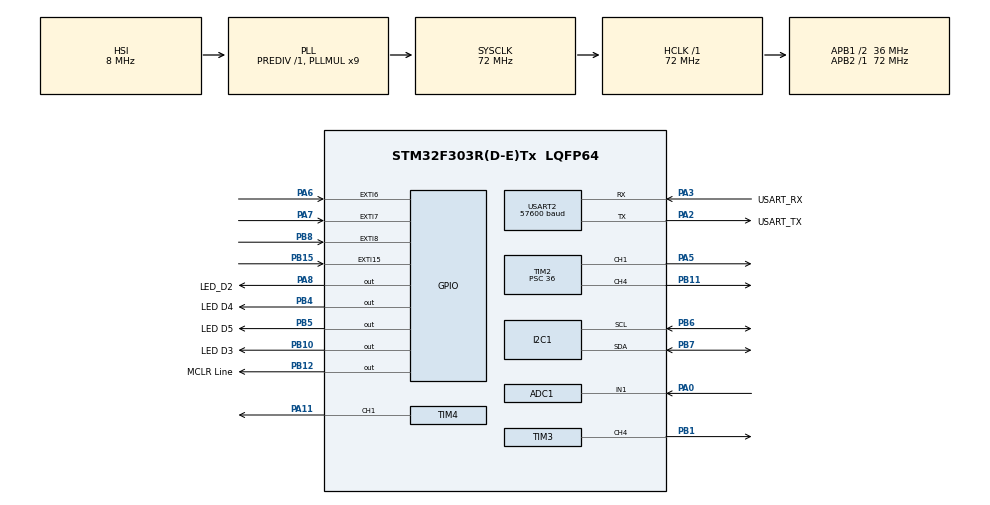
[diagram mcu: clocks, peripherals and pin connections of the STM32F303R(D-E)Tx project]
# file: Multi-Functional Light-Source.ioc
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ADC1.Channel-1\#ChannelRegularConversion=ADC_CHANNEL_1
ADC1.ContinuousConvMode=ENABLE
ADC1.DMAContinuousRequests=ENABLE
ADC1.NbrOfConversionFlag=1
ADC1.Offset-1\#ChannelRegularConversion=0
ADC1.OffsetNumber-1\#ChannelRegularConversion=ADC_OFFSET_NONE
ADC1.Rank-1\#ChannelRegularConversion=1
ADC1.SamplingTime-1\#ChannelRegularConversion=ADC_SAMPLETIME_1CYCLE_5
ADC1.master=1
Dma.ADC1.0.Direction=DMA_PERIPH_TO_MEMORY
Dma.ADC1.0.Instance=DMA1_Channel1
Dma.ADC1.0.MemDataAlignment=DMA_MDATAALIGN_HALFWORD
Dma.ADC1.0.MemInc=DMA_MINC_ENABLE
Dma.ADC1.0.Mode=DMA_CIRCULAR
Dma.ADC1.0.PeriphDataAlignment=DMA_PDATAALIGN_HALFWORD
Dma.ADC1.0.PeriphInc=DMA_PINC_DISABLE
Dma.ADC1.0.Priority=DMA_PRIORITY_LOW
Dma.Request0=ADC1
Mcu.Family=STM32F3
Mcu.Name=STM32F303R(D-E)Tx
Mcu.Package=LQFP64
NVIC.DMA1_Channel1_IRQn=true\:0\:0\:false\:false\:true\:false\:true\:true
NVIC.EXTI15_10_IRQn=true\:0\:0\:false\:false\:true\:true\:true\:true
NVIC.EXTI9_5_IRQn=true\:0\:0\:false\:false\:true\:true\:true\:true
NVIC.PriorityGroup=NVIC_PRIORITYGROUP_0
NVIC.USART2_IRQn=true\:0\:0\:false\:false\:true\:true\:true\:true
PA0.Mode=IN1-Single-Ended
PA0.Signal=ADC1_IN1
PA11.Signal=S_TIM4_CH1
PA13.GPIO_Label=TMS
PA13.Mode=Serial_Wire
PA13.Signal=SYS_JTMS-SWDIO
PA14.GPIO_Label=TCK
PA14.Mode=Serial_Wire
PA14.Signal=SYS_JTCK-SWCLK
PA2.GPIO_Label=USART_TX
PA2.GPIO_Mode=GPIO_MODE_AF_PP
PA2.GPIO_PuPd=GPIO_NOPULL
PA2.GPIO_Speed=GPIO_SPEED_FREQ_LOW
PA2.Mode=Asynchronous
PA2.Signal=USART2_TX
PA3.GPIO_Label=USART_RX
PA3.GPIO_Mode=GPIO_MODE_AF_PP
PA3.GPIO_PuPd=GPIO_NOPULL
PA3.GPIO_Speed=GPIO_SPEED_FREQ_LOW
PA3.Mode=Asynchronous
PA3.Signal=USART2_RX
PA5.Signal=S_TIM2_CH1_ETR
PA6.GPIO_ModeDefaultEXTI=GPIO_MODE_IT_RISING_FALLING
PA6.GPIO_PuPd=GPIO_PULLUP
PA6.Signal=GPXTI6
PA7.GPIO_ModeDefaultEXTI=GPIO_MODE_IT_RISING_FALLING
PA7.GPIO_PuPd=GPIO_PULLUP
PA7.Signal=GPXTI7
PA8.GPIO_Label=LED_D2
PA8.Signal=GPIO_Output
PB1.Signal=S_TIM3_CH4
PB10.GPIO_Label=LED D3
PB10.Signal=GPIO_Output
PB11.Signal=S_TIM2_CH4
PB12.GPIO_Label=MCLR Line
PB12.Signal=GPIO_Output
PB15.Signal=GPXTI15
PB3.GPIO_Label=SWO
PB3.Signal=SYS_JTDO-TRACESWO
PB4.GPIO_Label=LED D4
PB4.Signal=GPIO_Output
PB5.GPIO_Label=LED D5
PB5.Signal=GPIO_Output
PB6.Mode=I2C
PB6.Signal=I2C1_SCL
PB7.Mode=I2C
PB7.Signal=I2C1_SDA
PB8.GPIO_ModeDefaultEXTI=GPIO_MODE_IT_RISING_FALLING
PB8.GPIO_PuPd=GPIO_PULLUP
PB8.Signal=GPXTI8
PC14-OSC32_IN.Mode=LSE-External-Oscillator
PC14-OSC32_IN.Signal=RCC_OSC32_IN
PC15-OSC32_OUT.Mode=LSE-External-Oscillator
PC15-OSC32_OUT.Signal=RCC_OSC32_OUT
PF0-OSC_IN.Mode=HSE-External-Clock-Source
PF0-OSC_IN.Signal=RCC_OSC_IN
PF1-OSC_OUT.Signal=RCC_OSC_OUT
ProjectManager.HeapSize=0x200
ProjectManager.StackSize=0x400
ProjectManager.TargetToolchain=STM32CubeIDE
RCC.AHBFreq_Value=72000000
RCC.APB1CLKDivider=RCC_HCLK_DIV2
RCC.APB1Freq_Value=36000000
RCC.APB1TimFreq_Value=72000000
RCC.APB2Freq_Value=72000000
RCC.APB2TimFreq_Value=72000000
RCC.CortexFreq_Value=72000000
RCC.HCLKFreq_Value=72000000
RCC.HSE_VALUE=8000000
RCC.HSI_VALUE=8000000
RCC.PLLM=8
RCC.PLLMUL=RCC_PLL_MUL9
RCC.PLLN=336
RCC.PLLP=RCC_PLLP_DIV4
RCC.PLLQ=7
RCC.RCC_PLLsource_Clock_Source_FROM_HSE=RCC_HSE_PREDIV_DIV2
RCC.SYSCLKFreq_VALUE=72000000
RCC.SYSCLKSourceVirtual=RCC_SYSCLKSOURCE_PLLCLK
RCC.USBFreq_Value=72000000
SH.S_TIM2_CH1_ETR.0=TIM2_CH1,PWM Generation1 CH1
SH.S_TIM2_CH4.0=TIM2_CH4,PWM Generation4 CH4
SH.S_TIM3_CH4.0=TIM3_CH4,PWM Generation4 CH4
SH.S_TIM4_CH1.0=TIM4_CH1,PWM Generation1 CH1
TIM2.Channel-PWM\ Generation1\ CH1=TIM_CHANNEL_1
TIM2.Channel-PWM\ Generation4\ CH4=TIM_CHANNEL_4
TIM2.Period=512
TIM2.Prescaler=36
TIM3.Channel-PWM\ Generation4\ CH4=TIM_CHANNEL_4
TIM3.Period=512
TIM3.Prescaler=36
TIM4.Channel-PWM\ Generation1\ CH1=TIM_CHANNEL_1
TIM4.Prescaler=36
USART2.BaudRate=57600
USART2.Parity=PARITY_EVEN
USART2.StopBits=STOPBITS_2
USART2.VirtualMode-Asynchronous=VM_ASYNC
USART2.WordLength=WORDLENGTH_9B
VP_TIM2_VS_ClockSourceINT.Mode=Internal
VP_TIM3_VS_ClockSourceINT.Mode=Internal
VP_TIM4_VS_ClockSourceINT.Mode=Internal
board=NUCLEO-F303RE

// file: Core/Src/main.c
/* USER CODE BEGIN Header */
/**
  ******************************************************************************
  * @file           : main.c
  * @brief          : Main program body
  ******************************************************************************
  * @attention
  *
  * Copyright (c) 2024 STMicroelectronics.
  * All rights reserved.
  *
  * This software is licensed under terms that can be found in the LICENSE file
  * in the root directory of this software component.
  * If no LICENSE file comes with this software, it is provided AS-IS.
  *
  ******************************************************************************
  */
/* USER CODE END Header */
#include "main.h"

/* USER CODE BEGIN Includes */
#include "stdio.h"
#include "stdlib.h"
#include "string.h"
#include "ctype.h"

/* USER CODE END Includes */

/* USER CODE BEGIN PD */
#define adc_buf_len 4096
/* USER CODE END PD */

ADC_HandleTypeDef hadc1;
DMA_HandleTypeDef hdma_adc1;

I2C_HandleTypeDef hi2c1;

TIM_HandleTypeDef htim2;
TIM_HandleTypeDef htim3;
TIM_HandleTypeDef htim4;

UART_HandleTypeDef huart2;

/* USER CODE BEGIN PV */
extern uint8_t middle_button_pressed ;
extern  uint8_t right_button_pressed ;
extern uint8_t left_button_pressed ;
int button_count= 0 ;

uint8_t start_up = 1 ;
uint8_t em_count = 0 ;
uint8_t em_default = 1 ;

uint16_t adc_buf[adc_buf_len] ;  // stores adc values
uint16_t raw_adc_dma_val = 0 ;   // unscaled adc value
char adc_val[10] ;               // buffer to store val
int sum  = 0 ;
uint8_t adc_val_capture = 1 ;    // we capture adc current value if set
uint16_t adc_val_snapshot ;      // previous snapshot of adc value
uint8_t adc_conv_complete = 0 ;  // when buffer filled DMA interrrupt triggered and buffer ready for processin
double adc_scale_up =1.0314861460957178841309823677582 ;
uint16_t scaled_adc_val ;
uint8_t update_led_via_ADC = 0 ;  // WHITE led to be updated via ADC

uint8_t LED_ON = 0 ;   // white LED set on of off
uint16_t LED_intensity = 1 ;

/**Emergency mode*/
// STROBE
uint16_t strobe_delay =  512 ; // UNIT = ms f = 0.9765HZ (default on time)
uint32_t strobe_ticks = 0 ; // strobe delay count
uint8_t led_strobe_on = 0 ; // flag to alternate between on/off in strobe
uint32_t timePassed = 0 ;
uint16_t strobe_led_Intensity = 256 ;
//SOS morse

uint16_t time_unit = 512 ; //ms
uint32_t morse_current_time = 0 ;
uint32_t space_between_letter_time = 0 ;

uint8_t space_in_letter= 0;
uint8_t space_between_letters = 0 ;
uint8_t space_between_words = 0 ;
uint8_t DOT = 0 ;
uint8_t DASH = 0 ;
uint8_t next_char_check = 0 ; //  check if the next character is a dot or dash
uint8_t next_char_checked = 0 ;
uint8_t morse_dot_on = 0;
uint8_t morse_dash_on = 0 ;
uint8_t DOT_or_DASH = 0 ;
char MorseOut[20]  = {0} ;
//char *MorseOut ;
char character = '\0' ;

// Mood mode
uint8_t MM_mode_default = 1;
uint16_t R_channel_Intensity= 128;
uint16_t G_channel_Intensity = 128;
uint16_t B_channel_Intensity = 128 ;

uint8_t studentNum[13]="#:23765518:$\n" ;
char recvd_char[1];

char set_or_ret_sys_state[19] = {' '} ;
uint8_t num_characters = 0 ;
uint8_t UART_set_syst_state = 0;  // FLAG - to update system state
uint8_t UART_ret_sys_state = 0;   // FLAG - to requets/return current system state
uint8_t UART_state_update = 0;
uint8_t custom_morse_msg_rcvd = 0 ;  // Indicates whether a custom morse msg been received
uint16_t state  = 0 ;
uint16_t param1 = 0 ;
uint16_t param2 = 0 ;
uint8_t READ_SYS = 0;
char STATE[3] = {' '} ;
char PARAM1[3] = {' '} ;
char PARAM2[3] ={' '};
char Custom_Morse_Msg[3] = {' '};

// Variables to remember previous state of system
// Flashlight mode state values
uint16_t MF_state = 0 ;
uint16_t MF_param1 = 0;
char MF_param2[3] = {' '} ;
// Emergency mode state values
uint16_t ME_state = 0 ;
uint16_t ME_param1 = 0 ;
char ME_param2[3] = "000" ;
// Mood mode state values
uint16_t MM_state = 0;
uint16_t MM_param1 = 0 ;
uint16_t MM_param2 = 0 ;

// return system state
char ret_state[3] = {' '} ;
char ret_param1[3] = {' ' };
char ret_param2[3] = {' '} ;

char value[19] ;  // stores system requested system state

/* USER CODE END PV */

void SystemClock_Config(void);
static void MX_GPIO_Init(void);
static void MX_DMA_Init(void);
static void MX_USART2_UART_Init(void);
static void MX_ADC1_Init(void);
static void MX_TIM2_Init(void);
static void MX_TIM3_Init(void);
static void MX_TIM4_Init(void);
static void MX_I2C1_Init(void);
/* USER CODE BEGIN PFP */
void MF_mode_LED() ;
void ME_mode_LED();
void MM_mode_LED();

void adc_dma_val_processing() ;
void system_state_update() ;
void right_button_state_update() ;
void TURN_LED_ON_OFF() ;
void EM_mode_Strobe(uint16_t strobe_delay) ;
void Emergency_Mode_State_Update();
void convert_UART_state_params_to_Int();
void Mood_Mode_State_Update() ;
void Request_return_system_state() ;
void ascii_to_morse(char *str) ;
void M_DOT() ;
void M_DASH() ;
void M_Space_In_Letter() ;
void M_Space_between_Letter() ;
void M_Space_Between_Words() ;

/* USER CODE END PFP */

/* USER CODE BEGIN 0 */

void HAL_UART_RxCpltCallback(UART_HandleTypeDef *huart){

	// store recieved characters one at at time
	set_or_ret_sys_state[num_characters] = recvd_char[0] ;

	num_characters++ ;

	if(recvd_char[0] == '\n'){
		if(num_characters == 19){
			UART_set_syst_state = 1 ;

		}else if( num_characters == 7){
			UART_ret_sys_state = 1 ;

		}else{
			HAL_UART_Transmit_IT(&huart2, (uint8_t*)"Incorrect status request size\n", 30) ;
		}

		num_characters =  0;

	}
	// recieve character - re-prime receiver to receive single characters at a time
	HAL_UART_Receive_IT(&huart2, (uint8_t*)recvd_char, 1);
}

/**
 * scale up transmit ADC values
 */

void adc_dma_val_processing(){

	if(adc_conv_complete == 1){

		adc_conv_complete =0  ;
		sum = 0 ;
		for(int i = 0 ; i < adc_buf_len ; i++){
			sum += adc_buf[i] ;
		}
		raw_adc_dma_val =(uint16_t)(sum/adc_buf_len) ;

		scaled_adc_val = (uint16_t)raw_adc_dma_val*adc_scale_up ; //adc scaled to max =4095

		//capture previous adc cal
		if(adc_val_capture == 1){
			adc_val_snapshot = scaled_adc_val ;
			adc_val_capture = 0 ;
		}
	}

	// if ADC movement significant update LED intensity
	if(abs(scaled_adc_val - adc_val_snapshot) >15){
	  update_led_via_ADC = 1 ;
	}

//	 WHITE LED intensity
	LED_intensity =(float)(scaled_adc_val)*(512.0/4095.0)  ;
}

/**
 * Depending on input recvd system changes to specified state
 */
void system_state_update(){
	// button system state update
	 if(left_button_pressed ==1 && UART_set_syst_state == 0 && UART_ret_sys_state == 0 ){

		 button_count++ ;
		 if(button_count > 2){
			 button_count = 0 ;
		 }
		 update_led_via_ADC =  0 ; // don't read ADC by default in next state
		 // snapshot of ADC taken in next state
		 if(adc_conv_complete == 1){
			 adc_val_capture =1  ; // capture ADC value
		 }

		 // Emergency MODE DEFAULT
		 if(button_count != 1){
			 strobe_led_Intensity = 256 ;
			 strobe_delay = 512;
		 }

		 LED_ON = 0 ;  // at eahc new state led set off
		 left_button_pressed = 0 ;

	 }
	 // UART system state update
	 else if( left_button_pressed ==0 && UART_set_syst_state == 1 && UART_ret_sys_state == 0){ // System state update to come from only one source
		 UART_set_syst_state = 0;
		// stop reading ADC when UART set command  received
		if(adc_conv_complete == 1){
			adc_val_capture = 1 ; // capture slider value
			update_led_via_ADC = 0 ; // dont read until slider moved
		}

		 UART_state_update =1;

		 if(set_or_ret_sys_state[3] == 'F'){
			 button_count =0 ;
		 }
		 else if(set_or_ret_sys_state[3] =='E'){
			 button_count =1;

		 }else{
			 if(set_or_ret_sys_state[3] == 'M'){
				 button_count =2 ;

			 }
		 }
	 }
	 // read system state
	 else{ //dont update the system in any way - read current and previous states
		 if( left_button_pressed ==0 && UART_set_syst_state == 0 && UART_ret_sys_state == 1){

			 // stop reading adc
			if(adc_conv_complete == 1){
				adc_val_capture = 1 ; // capture slider value
				update_led_via_ADC = 0 ; // dont read until slider moved
			}

			 UART_ret_sys_state = 0;
			 READ_SYS =1;

		 }
	 }
}

/**
 * Updates system state after right button pressed in emergency mode
 */
void right_button_state_update(){

	if(right_button_pressed){
		right_button_pressed = 0 ;

		update_led_via_ADC = 0 ; // dont read adc by default in next state

		 em_count++ ;

		 if(em_count>2){
			 em_count = 0;
		 }
	}
}

/**
 * Middle button press turns LED ON/OFF
 */
void TURN_LED_ON_OFF(){
	if(middle_button_pressed == 1 && UART_set_syst_state == 0){
		 LED_ON = !LED_ON ;  // turns the LED on OR off

		 // Middle button press -> LED ON / OFF
		 if(LED_ON == 1){
			 htim2.Instance->CCR1 = 1 ; // LED ON
		 }else if(LED_ON ==0){
			 htim2.Instance->CCR1 = 0 ; //LED OFFS
		 }

		 middle_button_pressed = 0 ;
	 }
	else if(middle_button_pressed == 0 && UART_state_update == 1  ){
		if( state>0){
			LED_ON  = 1 ;
		}else{
			LED_ON = 0 ;
		}
	}
}

/**
 * LED strobed with provided number of ms
 */
void EM_mode_Strobe(uint16_t strobe_delay){

	 // default delay 512ms
	 timePassed =HAL_GetTick() - strobe_ticks ;
	 // time passed >512
	 if( timePassed >= strobe_delay && led_strobe_on == 0){
		 led_strobe_on =1 ;
		 htim2.Instance->CCR1 = 0 ;
	 }
	 // time Passed > 1024
	 if(timePassed >= 1024 && led_strobe_on == 1){
		 strobe_ticks =  HAL_GetTick() ; // update current time
		 led_strobe_on = 0 ;

		 if(update_led_via_ADC ==1){ // update LED intensity if the slider moved
			 htim2.Instance->CCR1 = LED_intensity ;
		 }else{ // if no slider movement strobe with default intensity
			 htim2.Instance->CCR1 = strobe_led_Intensity;
		 }
	 }

}
void convert_UART_state_params_to_Int(){
	if(UART_set_syst_state) {
		for(int i = 0; i < 19 ; i++){
			switch(i){
			case 5:
				STATE[0]= set_or_ret_sys_state[i] ;
				break;
			case 6:
				STATE[1]= set_or_ret_sys_state[i] ;
				break;
			case 7:
				STATE[2] = set_or_ret_sys_state[i] ;
				break;

			case 9:
				PARAM1[0] = set_or_ret_sys_state[i];
				break;
			case 10:
				PARAM1[1] = set_or_ret_sys_state[i] ;
				break;
			case 11:
				PARAM1[2] = set_or_ret_sys_state[i] ;
				break ;
			case 13:
				PARAM2[0] = set_or_ret_sys_state[i] ;
				break;
			case 14:
				PARAM2[1] = set_or_ret_sys_state[i] ;
				break;
			case 15:
				PARAM2[2] = set_or_ret_sys_state[i ];
				break;

			default:
				break ;
			}

		}

		state = atoi(STATE) ;
		param1 = atoi(PARAM1);
		// problem - perform check for if non integer characters are passed!
		if(strcmp(PARAM2, "000") == 0 ){

			param2 = atoi(PARAM2) ;  // SOS MORSE OUTPUT

			ME_param2[0] = param2/100 + 48;
			ME_param2[1] = (param2  -(param2/100)*100)/10 +48 ;
			ME_param2[2] = (param2 - (param2/10)*10) + 48 ;
		}
		else if( strcmp(PARAM2, "000") != 0 ){

			Custom_Morse_Msg[0] = PARAM2[0] ; // CUSTOM MORSE output - declare variable to store the output
			Custom_Morse_Msg[1] = PARAM2[1] ;
			Custom_Morse_Msg[2] = PARAM2[2] ;

			ME_param2[0] = Custom_Morse_Msg[0];
			ME_param2[1] = Custom_Morse_Msg[1] ;
			ME_param2[2] = Custom_Morse_Msg[2] ;

			custom_morse_msg_rcvd = 1;
		}
	}
}

/**
 * Function updates the necessary states/ values when UART command reached to
 * update the system state
 */
void Emergency_Mode_State_Update(){

	if(UART_state_update == 1 && state > 0 && set_or_ret_sys_state[3] =='E'){
		// Dont read ADC
		if(adc_conv_complete == 1){
			adc_val_capture = 1 ; // capture slider value
			update_led_via_ADC = 0 ; // dont read until slider moved
		}

		//update LED intensity
		strobe_led_Intensity = state;

		// strobe
		if(param1 > 0 ){
			em_count = 0 ;
			strobe_delay = param1 ;  // update the ON/off time of strobe

		}
		// SOS output
		else if(param1 == 0 && param2 == 0 && custom_morse_msg_rcvd == 0 ){
			HAL_UART_Transmit_IT(&huart2, (uint8_t*)"SOS MORSE\n", 10) ;
			em_count =1 ; // SOS mode
		}
		// CUSTOM morse msg received
		else{
			if(param1 == 0 && custom_morse_msg_rcvd ==1 ){
				custom_morse_msg_rcvd = 0;
				HAL_UART_Transmit_IT(&huart2, (uint8_t*)"CUSTOM MORSE\n", 13) ;
				em_count = 2 ; // CUSTOM MORSE

			}
		}

		UART_state_update = 0;
	}
	 // copy previous states information
		 ME_state = strobe_led_Intensity ;
		 ME_param1 =  strobe_delay;

}

void Mood_Mode_State_Update(){
	if(UART_state_update ==1  && set_or_ret_sys_state[3] == 'M'){

		R_channel_Intensity = state ;
		G_channel_Intensity = param1 ;
		B_channel_Intensity = param2 ;

		UART_state_update = 0;
	}
}

void Request_return_system_state(){
	if(READ_SYS ==1 ){
		// flash light mode
		if(set_or_ret_sys_state[3] == 'F'){

			ret_state[0] = MF_state/100 + 48 ; // hundred
			ret_state[1] = (MF_state -(MF_state/100)*100)/10 + 48 ; //tens
			ret_state[2] = (MF_state - (MF_state/10)*10) + 48 ;  //units

			ret_param1[0] = MF_param1/100 + 48 ; // hundred
			ret_param1[1] = (MF_param1 -(MF_param1/100)*100)/10 + 48 ; //tens
			ret_param1[2] = (MF_param1 - (MF_param1/10)*10) + 48 ;  //units

			if(custom_morse_msg_rcvd == 1){
				ret_param2[0] = MF_param2[0]; // hundred
				ret_param2[1] = MF_param2[1] ; //tens
				ret_param2[2] = MF_param2[2] ; //units
			}else{
				ret_param2[0] = param2/100 + 48;  // hundred
				ret_param2[1] =	(param2 -(param2/100)*100)/10 + 48 ; //tens
				ret_param2[2] = (param2 - (param2/10)*10) + 48 ; //units
			}

		}
		// emergency mode
		else if(set_or_ret_sys_state[3] == 'E'){

			ret_state[0] = ME_state/100 + 48 ; // hundred
			ret_state[1] = (ME_state -(ME_state/100)*100)/10 + 48 ; //tens
			ret_state[2] = (ME_state - (ME_state/10)*10) + 48 ;  //units

			ret_param1[0] = ME_param1/100 + 48 ; // hundred
			ret_param1[1] = (ME_param1 -(ME_param1/100)*100)/10 + 48 ; //tens
			ret_param1[2] = (ME_param1 - (ME_param1/10)*10) + 48 ;  //units

			// check whether param2 was 0 OR CUSTOM morse message recvd
			if(strcmp(ME_param2, "000") == 0){

				ret_param2[0] = ME_param2[0];
				ret_param2[1] = ME_param2[1] ;
				ret_param2[2] = ME_param2[2] ;

			}else{
				ret_param2[0] = Custom_Morse_Msg[0];
				ret_param2[1] = Custom_Morse_Msg[1] ;
				ret_param2[2] = Custom_Morse_Msg[2] ;

			}

		}
		// mood mode
		else{
			if(set_or_ret_sys_state[3] == 'M'){

				ret_state[0] = MM_state/100 + 48 ; // hundred
				ret_state[1] = (MM_state -(MM_state/100)*100)/10 + 48 ; //tens
				ret_state[2] = (MM_state - (MM_state/10)*10) + 48 ;  //units

				ret_param1[0] = MM_param1/100 + 48 ; // hundred
				ret_param1[1] = (MM_param1 -(MM_param1/100)*100)/10 + 48 ; //tens
				ret_param1[2] = (MM_param1 - (MM_param1/10)*10) + 48 ;  //units

				ret_param2[0] = MM_param2/100 + 48 ; // hundred
				ret_param2[1] = (MM_param2 -(MM_param2/100)*100)/10 + 48 ; //tens
				ret_param2[2] = (MM_param2 - (MM_param2/10)*10) + 48 ;  //units

			}
		}

		// construct message to return
		for(int i = 0; i<19  ; i++){
			switch(i){
			case 0:
				value[i] ='#';

				break ;
			case 1:
				value[i] = ':' ;

				break ;
			case 2:
				value[i] = 'M';

			break ;

			case 3:
				value[i] = set_or_ret_sys_state[3];

				break ;
			case 4:
				value[i] = ':';

				break ;
			case 5:
				value[i] = ret_state[0];

			break ;

			case 6:
				value[i] = ret_state[1];

				break ;
			case 7:
				value[i] = ret_state[2];

				break ;
			case 8:
				value[i] =  ':';

			break ;

			case 9:
				value[i] = ret_param1[0];

				break ;
			case 10:
				value[i] = ret_param1[1];

				break ;
			case 11:
				value[i] = ret_param1[2];

			break ;

			case 12:
				value[i] = ':';

				break ;
			case 13:
				value[i] = ret_param2[0];

				break ;
			case 14:
				value[i] = ret_param2[1];

				break ;

			case 15:
				value[i] = ret_param2[2];

				break ;
			case 16:
				value[i] = ':';

					break ;
			case 17:
				value[i] = '$';

				break ;
			case 18:
				value[i] = '\n' ;
				break;

			default:
				break;

			}
		}

		HAL_UART_Transmit_IT(&huart2, (uint8_t*)value, 19) ;

		READ_SYS = 0 ;
	}
}

void ascii_to_morse(char *str) {
    int i;
    char *morse[] = {".-", "-...", "-.-.", "-..", ".", "..-.", "--.", "....", "..", ".---",
                     "-.-", ".-..", "--", "-.", "---", ".--.", "--.-", ".-.", "...", "-",
                     "..-", "...-", ".--", "-..-", "-.--", "--..", "-----", ".----", "..---",
                     "...--", "....-", ".....", "-....", "--...", "---..", "----."};
    char c;

   // char temp[18] ;
    //char tempMorse[10] ;
    char MorseChar1[10] ={};
    char MorseChar2[10] ={};
    char MorseChar3[10] ={} ;

    int tempLenByte1 ;
    int tempLenByte2 ;
    int tempLenByte3 ;

    //int len ;

    for (i = 0; i < strlen(str); i++) {
        c = toupper(str[i]); // convert to uppercase for simplicity
        if (c >= 'A' && c <= 'Z') { // convert letters
            printf("%s ", morse[c - 'A']);
            //length of morse char

            if(i == 0){  //character 1
                tempLenByte1 = sprintf(MorseChar1, "%s ",morse[c - 'A'] ) ;
                strncat(MorseOut, MorseChar1, tempLenByte1) ;
            }
            if(i == 1){//character 2
                tempLenByte2 = sprintf(MorseChar2, "%s ", morse[c - 'A']) ;
                strncat(MorseOut, MorseChar2, tempLenByte2) ;

            }
            if(i == 2){//character 3
                tempLenByte3 = sprintf(MorseChar3, "%s ", morse[c - 'A']);
                strncat(MorseOut, MorseChar3, tempLenByte3) ;

                printf("Morse Array: %s\n", MorseOut) ;
            }

        } else if (c >= '0' && c <= '9') { // convert digits
            printf("%s ", morse[c - '0' + 26]);

            if(i == 0){  //character 1
                tempLenByte1 = sprintf(MorseChar1, "%s ",morse[c - '0' + 26] ) ;

                strncat(MorseOut, MorseChar1, tempLenByte1) ;
            }
            if(i == 1){//character 2
                tempLenByte2 = sprintf(MorseChar2, "%s ",morse[c - '0' + 26]) ;
                strncat(MorseOut, MorseChar2, tempLenByte2) ;

            }
            if(i == 2){//character 3
                tempLenByte3 = sprintf(MorseChar3, "%s ",morse[c - '0' + 26]);
                strncat(MorseOut, MorseChar3, tempLenByte3) ;

                printf("Morse Array: %s\n", MorseOut) ;
            }

        } else if (c == ' ') { // word separator
            printf(" ");
        }
    }
}

// dot
void M_DOT(){
	htim2.Instance -> CCR1 = 512 ;
	if(HAL_GetTick() -  morse_current_time > time_unit){
		htim2.Instance->CCR1 = 0 ;
		morse_current_time = HAL_GetTick() ;

		space_in_letter = 1;
		DASH = 0;
		DOT = 0;

	}
}
// dash
void M_DASH(){
	htim2.Instance -> CCR1 = 512 ;
	if(HAL_GetTick() -  morse_current_time > 3*time_unit){
		htim2.Instance->CCR1 = 0 ; // read next character
		morse_current_time = HAL_GetTick() ;

		space_in_letter =1 ;
		DASH = 0;
		DOT = 0;

	}
}
// space in letter
void M_Space_In_Letter(){
	if(HAL_GetTick() -  morse_current_time >time_unit){
		space_in_letter = 0;
		morse_current_time = HAL_GetTick() ;

	}
}
// space between letter
void M_Space_between_Letter(){
	if(HAL_GetTick() -  morse_current_time > 3*time_unit){
		space_between_letters = 0;
		morse_current_time = HAL_GetTick() ;

	}

}
// space between words
void M_Space_Between_Words(){
	if(HAL_GetTick() -  morse_current_time > 7*time_unit){
		// start of morse string
		space_between_words =  0;
		morse_current_time = HAL_GetTick() ;

	}
}
#define DOT_DURATION 512
#define DASH_DURATION (3 * DOT_DURATION)
#define SYMBOL_SPACE (DOT_DURATION)
#define LETTER_SPACE (3 * DOT_DURATION)
#define WORD_SPACE (7 * DOT_DURATION)
uint8_t wordTransmitted = 0;
// Morse code representations
const char* morseCodeTable[36] = {
    ".-",   // A
    "-...", // B
    "-.-.", // C
    "-..",  // D
    ".",    // E
    "..-.", // F
    "--.",  // G
    "....", // H
    "..",   // I
    ".---", // J
    "-.-",  // K
    ".-..", // L
    "--",   // M
    "-.",   // N
    "---",  // O
    ".--.", // P
    "--.-", // Q
    ".-.",  // R
    "...",  // S
    "-",    // T
    "..-",  // U
    "...-", // V
    ".--",  // W
    "-..-", // X
    "-.--", // Y
    "--..", // Z
    "-----",// 0
    ".----",// 1
    "..---",// 2
    "...--",// 3
    "....-",// 4
    ".....",// 5
    "-....",// 6
    "--...",// 7
    "---..",// 8
    "----." // 9
};

void blinkMorseCode(char c) {
    if (c >= 'A' && c <= 'Z') {
        c -= 'A';
    } else if (c >= '0' && c <= '9') {
        c -= '0' - 26;
    } else {
        // Unsupported character, ignore
        return;
    }

    const char* morse = morseCodeTable[(int)c];
    if(space_between_letters ==0 ){
		while (*morse) {
			switch (*morse) {
				case '.':
					htim2.Instance->CCR1= 512;
					HAL_Delay(DOT_DURATION);
					htim2.Instance->CCR1= 0;
					HAL_Delay(SYMBOL_SPACE);
					break;
				case '-':
					htim2.Instance->CCR1= 512;;
					HAL_Delay(DASH_DURATION);
					htim2.Instance->CCR1= 0;
					HAL_Delay(SYMBOL_SPACE);
					break;
				default:
					break;
			}
			morse++;
			if(*morse == '\0'){
				space_between_letters = 1 ;
				space_between_letter_time =  HAL_GetTick() ;

				break ;
			}
		}
    }
//    HAL_Delay(LETTER_SPACE - SYMBOL_SPACE); // Additional space after letter
    if(space_between_letters == 1){
    	 if(HAL_GetTick() -  space_between_letter_time >= 3*time_unit){
			space_between_letters = 0 ;

    	 }
    }

}

char c ;
char MSG[10] = {} ;
void encodeAndBlink(const char* str){
	if(wordTransmitted==0){
		while(*str){
			c = *str ;
			blinkMorseCode(toupper(*str)) ;
			str++ ;

			if(*str == '\0'){
				wordTransmitted =1 ;
				morse_current_time= HAL_GetTick() ;
				break;
			}
		}
	}
	// NEXT word delay

	if(wordTransmitted ==1){
		timePassed = HAL_GetTick() - morse_current_time ;
		if(HAL_GetTick() - morse_current_time > 7*DOT_DURATION){
			wordTransmitted = 0 ;
		}
	}
}
/* USER CODE END 0 */

int main(void)
{

  /* MCU Configuration--------------------------------------------------------*/

  /* Reset of all peripherals, Initializes the Flash interface and the Systick. */
  HAL_Init();

  /* Configure the system clock */
  SystemClock_Config();

  /* Initialize all configured peripherals */
  MX_GPIO_Init();
  MX_DMA_Init();
  MX_USART2_UART_Init();
  MX_ADC1_Init();
  MX_TIM2_Init();
  MX_TIM3_Init();
  MX_TIM4_Init();
  MX_I2C1_Init();
  /* USER CODE BEGIN 2 */

  HAL_Delay(200);
  HAL_UART_Transmit(&huart2, studentNum, 13, 150); //transmit student number

  HAL_UART_Receive_IT(&huart2, (uint8_t*)recvd_char, 1);

  //Startup ADC
  HAL_ADC_Start_DMA(&hadc1, (uint32_t*)adc_buf, adc_buf_len) ;

  // TIM2_CH1 start PWM
  HAL_TIM_PWM_Start(&htim2,TIM_CHANNEL_1) ;
  // TIM2_CH4 start PWM - red LED
  HAL_TIM_PWM_Start(&htim2, TIM_CHANNEL_4) ;
  // TIM3_CH4 start PWM - GREEN LED
  HAL_TIM_PWM_Start(&htim3, TIM_CHANNEL_4);
  // TIM4_CH1 start PWM - BLUE LED
  HAL_TIM_PWM_Start(&htim4, TIM_CHANNEL_1) ;

  strobe_ticks  = HAL_GetTick() ;
  morse_current_time = HAL_GetTick() ;
  int readCha = 1;

  HAL_GPIO_WritePin(GPIOB, GPIO_PIN_12, GPIO_PIN_SET);
  HAL_Delay(1);
  HAL_GPIO_WritePin(GPIOB, GPIO_PIN_12, GPIO_PIN_RESET) ;
  /* USER CODE END 2 */

  /* Infinite loop */
  /* USER CODE BEGIN WHILE */
  while (1)
  {
	  // Turn LED ON/OFF
	  TURN_LED_ON_OFF() ;
	  // REAS sys state
	  Request_return_system_state() ;
	  // left button press to update system state (MF -> ME -> MM)
	  system_state_update() ;
	  //run adc and capture previous snapshot of ADC value and adc movement processing
	  adc_dma_val_processing();

	  // read UART params
	  convert_UART_state_params_to_Int() ;

	 // system state
	 if(button_count == 0 || start_up == 1 ){

		 start_up = 0 ; //for default MF state

		 MF_mode_LED() ; // sets the corresponding mode LED
		 em_count=0;     // reset the emergency mode count
		 em_default = 1; // to re-enter the EM state

		if(LED_ON == 1){
			 // if LED_ON and SLIDER MOVED -> updated LED intensity
			if(update_led_via_ADC == 1 && UART_state_update == 0){

				htim2.Instance->CCR1 =  LED_intensity ; // vary the duty cycle of the LED [1:512]
				MF_state = LED_intensity ;
				MF_param1 = param1  ;
			}
			else if(UART_state_update == 1 && state > 0 && set_or_ret_sys_state[3] =='F' ){

				htim2.Instance->CCR1 = state ;

				MF_state = state ;  // for when sys request made
				MF_param1 = param1  ;

				if(strcmp(Custom_Morse_Msg, "000") == 0){
					sprintf(ME_param2, "%d", param2) ;

				}else{
					MF_param2[0] = Custom_Morse_Msg[0];
					MF_param2[1] = Custom_Morse_Msg[1] ;
					MF_param2[2] = Custom_Morse_Msg[2] ;
				}
				UART_state_update = 0;
			}else{
				MF_state = htim2.Instance->CCR1;
			}

		}
	 }else if(button_count == 1 ){// right button system state updated
		 ME_mode_LED() ; // sets the corresponding modes LED

		 Emergency_Mode_State_Update() ;// set EM mode states

	 }else{
		 if(button_count == 2){ // Mood Mode
			 // SET THE NECESSARY STATES
			 em_count=0; // reset the emergency mode state
			 em_default = 1; // to re-enter EM state

			 MM_mode_LED() ; //sets the corresponding modes LED

			 Mood_Mode_State_Update() ; // update the necessary MM states
			 if(LED_ON == 1){

				 //red channel
				 htim2.Instance->CCR4 = R_channel_Intensity ;
				 MM_state = R_channel_Intensity ;
				 // GREEN channel
				 htim3.Instance->CCR4 = G_channel_Intensity ;
				 MM_param1 = G_channel_Intensity ;
				 // BLUE channel
				 htim4.Instance->CCR1 = B_channel_Intensity ;
				 MM_param2 = B_channel_Intensity ;

			 }else{
				 // put all channels off
				 //red channel
				 htim2.Instance->CCR4 =  0;
				 // GREEN channel
				 htim3.Instance->CCR4 = 0 ;
				 // BLUE channel
				 htim4.Instance->CCR1 = 0 ;
			 }

		 }
	 }

	 //EMERGENCY MODES
	  if(button_count ==1 ){
		// update emergency mode states
		right_button_state_update() ;

		 if(em_count == 0 || em_default ==1){ //strobe wit default intensity
			 em_default = 0 ; //default state reached
			 HAL_GPIO_WritePin(GPIOB, GPIO_PIN_5, GPIO_PIN_RESET);

			 if(LED_ON){ //LED_on =?
				 // strobe LED with provided on time
				 EM_mode_Strobe(strobe_delay) ;
			 }
		 }
		 else if(em_count ==1){ // SOS MOSRE
			 HAL_GPIO_WritePin(GPIOB, GPIO_PIN_5, GPIO_PIN_SET);

			 if(LED_ON){

				 if(readCha == 1){
					 ascii_to_morse("SOS") ;
					 HAL_UART_Transmit_IT(&huart2, (uint8_t*)MorseOut, strlen(MorseOut)) ;
					 readCha = 0;

				 }

				 encodeAndBlink("SOS") ;

				 }

			 }
		 }
		 else{
			 if(em_count == 2){ // CUSTOM MORSE
				 HAL_GPIO_WritePin(GPIOB, GPIO_PIN_5, GPIO_PIN_SET);

				 if(LED_ON){

				 }
		 }

	  }
    /* USER CODE END WHILE */

  }
}

void SystemClock_Config(void)
{
  RCC_OscInitTypeDef RCC_OscInitStruct = {0};
  RCC_ClkInitTypeDef RCC_ClkInitStruct = {0};
  RCC_PeriphCLKInitTypeDef PeriphClkInit = {0};

  /** Initializes the RCC Oscillators according to the specified parameters
  * in the RCC_OscInitTypeDef structure.
  */
  RCC_OscInitStruct.OscillatorType = RCC_OSCILLATORTYPE_HSI;
  RCC_OscInitStruct.HSIState = RCC_HSI_ON;
  RCC_OscInitStruct.HSICalibrationValue = RCC_HSICALIBRATION_DEFAULT;
  RCC_OscInitStruct.PLL.PLLState = RCC_PLL_ON;
  RCC_OscInitStruct.PLL.PLLSource = RCC_PLLSOURCE_HSI;
  RCC_OscInitStruct.PLL.PLLMUL = RCC_PLL_MUL9;
  RCC_OscInitStruct.PLL.PREDIV = RCC_PREDIV_DIV1;
  if (HAL_RCC_OscConfig(&RCC_OscInitStruct) != HAL_OK)
  {
    Error_Handler();
  }

  /** Initializes the CPU, AHB and APB buses clocks
  */
  RCC_ClkInitStruct.ClockType = RCC_CLOCKTYPE_HCLK|RCC_CLOCKTYPE_SYSCLK
                              |RCC_CLOCKTYPE_PCLK1|RCC_CLOCKTYPE_PCLK2;
  RCC_ClkInitStruct.SYSCLKSource = RCC_SYSCLKSOURCE_PLLCLK;
  RCC_ClkInitStruct.AHBCLKDivider = RCC_SYSCLK_DIV1;
  RCC_ClkInitStruct.APB1CLKDivider = RCC_HCLK_DIV2;
  RCC_ClkInitStruct.APB2CLKDivider = RCC_HCLK_DIV1;

  if (HAL_RCC_ClockConfig(&RCC_ClkInitStruct, FLASH_LATENCY_2) != HAL_OK)
  {
    Error_Handler();
  }
  PeriphClkInit.PeriphClockSelection = RCC_PERIPHCLK_USART2|RCC_PERIPHCLK_I2C1
                              |RCC_PERIPHCLK_ADC12|RCC_PERIPHCLK_TIM2
                              |RCC_PERIPHCLK_TIM34;
  PeriphClkInit.Usart2ClockSelection = RCC_USART2CLKSOURCE_PCLK1;
  PeriphClkInit.Adc12ClockSelection = RCC_ADC12PLLCLK_DIV1;
  PeriphClkInit.I2c1ClockSelection = RCC_I2C1CLKSOURCE_HSI;
  PeriphClkInit.Tim2ClockSelection = RCC_TIM2CLK_HCLK;
  PeriphClkInit.Tim34ClockSelection = RCC_TIM34CLK_HCLK;
  if (HAL_RCCEx_PeriphCLKConfig(&PeriphClkInit) != HAL_OK)
  {
    Error_Handler();
  }
}

static void MX_ADC1_Init(void)
{

  ADC_MultiModeTypeDef multimode = {0};
  ADC_ChannelConfTypeDef sConfig = {0};

  /** Common config
  */
  hadc1.Instance = ADC1;
  hadc1.Init.ClockPrescaler = ADC_CLOCK_ASYNC_DIV1;
  hadc1.Init.Resolution = ADC_RESOLUTION_12B;
  hadc1.Init.ScanConvMode = ADC_SCAN_DISABLE;
  hadc1.Init.ContinuousConvMode = ENABLE;
  hadc1.Init.DiscontinuousConvMode = DISABLE;
  hadc1.Init.ExternalTrigConvEdge = ADC_EXTERNALTRIGCONVEDGE_NONE;
  hadc1.Init.ExternalTrigConv = ADC_SOFTWARE_START;
  hadc1.Init.DataAlign = ADC_DATAALIGN_RIGHT;
  hadc1.Init.NbrOfConversion = 1;
  hadc1.Init.DMAContinuousRequests = ENABLE;
  hadc1.Init.EOCSelection = ADC_EOC_SINGLE_CONV;
  hadc1.Init.LowPowerAutoWait = DISABLE;
  hadc1.Init.Overrun = ADC_OVR_DATA_OVERWRITTEN;
  if (HAL_ADC_Init(&hadc1) != HAL_OK)
  {
    Error_Handler();
  }

  /** Configure the ADC multi-mode
  */
  multimode.Mode = ADC_MODE_INDEPENDENT;
  if (HAL_ADCEx_MultiModeConfigChannel(&hadc1, &multimode) != HAL_OK)
  {
    Error_Handler();
  }

  /** Configure Regular Channel
  */
  sConfig.Channel = ADC_CHANNEL_1;
  sConfig.Rank = ADC_REGULAR_RANK_1;
  sConfig.SingleDiff = ADC_SINGLE_ENDED;
  sConfig.SamplingTime = ADC_SAMPLETIME_1CYCLE_5;
  sConfig.OffsetNumber = ADC_OFFSET_NONE;
  sConfig.Offset = 0;
  if (HAL_ADC_ConfigChannel(&hadc1, &sConfig) != HAL_OK)
  {
    Error_Handler();
  }

}

static void MX_I2C1_Init(void)
{

  hi2c1.Instance = I2C1;
  hi2c1.Init.Timing = 0x2000090E;
  hi2c1.Init.OwnAddress1 = 0;
  hi2c1.Init.AddressingMode = I2C_ADDRESSINGMODE_7BIT;
  hi2c1.Init.DualAddressMode = I2C_DUALADDRESS_DISABLE;
  hi2c1.Init.OwnAddress2 = 0;
  hi2c1.Init.OwnAddress2Masks = I2C_OA2_NOMASK;
  hi2c1.Init.GeneralCallMode = I2C_GENERALCALL_DISABLE;
  hi2c1.Init.NoStretchMode = I2C_NOSTRETCH_DISABLE;
  if (HAL_I2C_Init(&hi2c1) != HAL_OK)
  {
    Error_Handler();
  }

  /** Configure Analogue filter
  */
  if (HAL_I2CEx_ConfigAnalogFilter(&hi2c1, I2C_ANALOGFILTER_ENABLE) != HAL_OK)
  {
    Error_Handler();
  }

  /** Configure Digital filter
  */
  if (HAL_I2CEx_ConfigDigitalFilter(&hi2c1, 0) != HAL_OK)
  {
    Error_Handler();
  }

}

static void MX_TIM2_Init(void)
{

  TIM_ClockConfigTypeDef sClockSourceConfig = {0};
  TIM_MasterConfigTypeDef sMasterConfig = {0};
  TIM_OC_InitTypeDef sConfigOC = {0};

  htim2.Instance = TIM2;
  htim2.Init.Prescaler = 36;
  htim2.Init.CounterMode = TIM_COUNTERMODE_UP;
  htim2.Init.Period = 512;
  htim2.Init.ClockDivision = TIM_CLOCKDIVISION_DIV1;
  htim2.Init.AutoReloadPreload = TIM_AUTORELOAD_PRELOAD_DISABLE;
  if (HAL_TIM_Base_Init(&htim2) != HAL_OK)
  {
    Error_Handler();
  }
  sClockSourceConfig.ClockSource = TIM_CLOCKSOURCE_INTERNAL;
  if (HAL_TIM_ConfigClockSource(&htim2, &sClockSourceConfig) != HAL_OK)
  {
    Error_Handler();
  }
  if (HAL_TIM_PWM_Init(&htim2) != HAL_OK)
  {
    Error_Handler();
  }
  sMasterConfig.MasterOutputTrigger = TIM_TRGO_RESET;
  sMasterConfig.MasterSlaveMode = TIM_MASTERSLAVEMODE_DISABLE;
  if (HAL_TIMEx_MasterConfigSynchronization(&htim2, &sMasterConfig) != HAL_OK)
  {
    Error_Handler();
  }
  sConfigOC.OCMode = TIM_OCMODE_PWM1;
  sConfigOC.Pulse = 0;
  sConfigOC.OCPolarity = TIM_OCPOLARITY_HIGH;
  sConfigOC.OCFastMode = TIM_OCFAST_DISABLE;
  if (HAL_TIM_PWM_ConfigChannel(&htim2, &sConfigOC, TIM_CHANNEL_1) != HAL_OK)
  {
    Error_Handler();
  }
  if (HAL_TIM_PWM_ConfigChannel(&htim2, &sConfigOC, TIM_CHANNEL_4) != HAL_OK)
  {
    Error_Handler();
  }
  HAL_TIM_MspPostInit(&htim2);

}

static void MX_TIM3_Init(void)
{

  TIM_ClockConfigTypeDef sClockSourceConfig = {0};
  TIM_MasterConfigTypeDef sMasterConfig = {0};
  TIM_OC_InitTypeDef sConfigOC = {0};

  htim3.Instance = TIM3;
  htim3.Init.Prescaler = 36;
  htim3.Init.CounterMode = TIM_COUNTERMODE_UP;
  htim3.Init.Period = 512;
  htim3.Init.ClockDivision = TIM_CLOCKDIVISION_DIV1;
  htim3.Init.AutoReloadPreload = TIM_AUTORELOAD_PRELOAD_DISABLE;
  if (HAL_TIM_Base_Init(&htim3) != HAL_OK)
  {
    Error_Handler();
  }
  sClockSourceConfig.ClockSource = TIM_CLOCKSOURCE_INTERNAL;
  if (HAL_TIM_ConfigClockSource(&htim3, &sClockSourceConfig) != HAL_OK)
  {
    Error_Handler();
  }
  if (HAL_TIM_PWM_Init(&htim3) != HAL_OK)
  {
    Error_Handler();
  }
  sMasterConfig.MasterOutputTrigger = TIM_TRGO_RESET;
  sMasterConfig.MasterSlaveMode = TIM_MASTERSLAVEMODE_DISABLE;
  if (HAL_TIMEx_MasterConfigSynchronization(&htim3, &sMasterConfig) != HAL_OK)
  {
    Error_Handler();
  }
  sConfigOC.OCMode = TIM_OCMODE_PWM1;
  sConfigOC.Pulse = 0;
  sConfigOC.OCPolarity = TIM_OCPOLARITY_HIGH;
  sConfigOC.OCFastMode = TIM_OCFAST_DISABLE;
  if (HAL_TIM_PWM_ConfigChannel(&htim3, &sConfigOC, TIM_CHANNEL_4) != HAL_OK)
  {
    Error_Handler();
  }
  HAL_TIM_MspPostInit(&htim3);

}

static void MX_TIM4_Init(void)
{

  TIM_ClockConfigTypeDef sClockSourceConfig = {0};
  TIM_MasterConfigTypeDef sMasterConfig = {0};
  TIM_OC_InitTypeDef sConfigOC = {0};

  htim4.Instance = TIM4;
  htim4.Init.Prescaler = 36;
  htim4.Init.CounterMode = TIM_COUNTERMODE_UP;
  htim4.Init.Period = 65535;
  htim4.Init.ClockDivision = TIM_CLOCKDIVISION_DIV1;
  htim4.Init.AutoReloadPreload = TIM_AUTORELOAD_PRELOAD_DISABLE;
  if (HAL_TIM_Base_Init(&htim4) != HAL_OK)
  {
    Error_Handler();
  }
  sClockSourceConfig.ClockSource = TIM_CLOCKSOURCE_INTERNAL;
  if (HAL_TIM_ConfigClockSource(&htim4, &sClockSourceConfig) != HAL_OK)
  {
    Error_Handler();
  }
  if (HAL_TIM_PWM_Init(&htim4) != HAL_OK)
  {
    Error_Handler();
  }
  sMasterConfig.MasterOutputTrigger = TIM_TRGO_RESET;
  sMasterConfig.MasterSlaveMode = TIM_MASTERSLAVEMODE_DISABLE;
  if (HAL_TIMEx_MasterConfigSynchronization(&htim4, &sMasterConfig) != HAL_OK)
  {
    Error_Handler();
  }
  sConfigOC.OCMode = TIM_OCMODE_PWM1;
  sConfigOC.Pulse = 0;
  sConfigOC.OCPolarity = TIM_OCPOLARITY_HIGH;
  sConfigOC.OCFastMode = TIM_OCFAST_DISABLE;
  if (HAL_TIM_PWM_ConfigChannel(&htim4, &sConfigOC, TIM_CHANNEL_1) != HAL_OK)
  {
    Error_Handler();
  }
  HAL_TIM_MspPostInit(&htim4);

}

static void MX_USART2_UART_Init(void)
{

  huart2.Instance = USART2;
  huart2.Init.BaudRate = 57600;
  huart2.Init.WordLength = UART_WORDLENGTH_9B;
  huart2.Init.StopBits = UART_STOPBITS_2;
  huart2.Init.Parity = UART_PARITY_EVEN;
  huart2.Init.Mode = UART_MODE_TX_RX;
  huart2.Init.HwFlowCtl = UART_HWCONTROL_NONE;
  huart2.Init.OverSampling = UART_OVERSAMPLING_16;
  huart2.Init.OneBitSampling = UART_ONE_BIT_SAMPLE_DISABLE;
  huart2.AdvancedInit.AdvFeatureInit = UART_ADVFEATURE_NO_INIT;
  if (HAL_UART_Init(&huart2) != HAL_OK)
  {
    Error_Handler();
  }

}

static void MX_DMA_Init(void)
{

  /* DMA controller clock enable */
  __HAL_RCC_DMA1_CLK_ENABLE();

  /* DMA interrupt init */
  /* DMA1_Channel1_IRQn interrupt configuration */
  HAL_NVIC_SetPriority(DMA1_Channel1_IRQn, 0, 0);
  HAL_NVIC_EnableIRQ(DMA1_Channel1_IRQn);

}

static void MX_GPIO_Init(void)
{
  GPIO_InitTypeDef GPIO_InitStruct = {0};

  /* GPIO Ports Clock Enable */
  __HAL_RCC_GPIOC_CLK_ENABLE();
  __HAL_RCC_GPIOF_CLK_ENABLE();
  __HAL_RCC_GPIOA_CLK_ENABLE();
  __HAL_RCC_GPIOB_CLK_ENABLE();

  /*Configure GPIO pin Output Level */
  HAL_GPIO_WritePin(GPIOB, LED_D3_Pin|MCLR_Line_Pin|LED_D4_Pin|LED_D5_Pin, GPIO_PIN_RESET);

  /*Configure GPIO pin Output Level */
  HAL_GPIO_WritePin(LED_D2_GPIO_Port, LED_D2_Pin, GPIO_PIN_RESET);

  /*Configure GPIO pins : PA6 PA7 */
  GPIO_InitStruct.Pin = GPIO_PIN_6|GPIO_PIN_7;
  GPIO_InitStruct.Mode = GPIO_MODE_IT_RISING_FALLING;
  GPIO_InitStruct.Pull = GPIO_PULLUP;
  HAL_GPIO_Init(GPIOA, &GPIO_InitStruct);

  /*Configure GPIO pins : LED_D3_Pin MCLR_Line_Pin LED_D4_Pin LED_D5_Pin */
  GPIO_InitStruct.Pin = LED_D3_Pin|MCLR_Line_Pin|LED_D4_Pin|LED_D5_Pin;
  GPIO_InitStruct.Mode = GPIO_MODE_OUTPUT_PP;
  GPIO_InitStruct.Pull = GPIO_NOPULL;
  GPIO_InitStruct.Speed = GPIO_SPEED_FREQ_LOW;
  HAL_GPIO_Init(GPIOB, &GPIO_InitStruct);

  /*Configure GPIO pin : PB15 */
  GPIO_InitStruct.Pin = GPIO_PIN_15;
  GPIO_InitStruct.Mode = GPIO_MODE_IT_RISING;
  GPIO_InitStruct.Pull = GPIO_NOPULL;
  HAL_GPIO_Init(GPIOB, &GPIO_InitStruct);

  /*Configure GPIO pin : LED_D2_Pin */
  GPIO_InitStruct.Pin = LED_D2_Pin;
  GPIO_InitStruct.Mode = GPIO_MODE_OUTPUT_PP;
  GPIO_InitStruct.Pull = GPIO_NOPULL;
  GPIO_InitStruct.Speed = GPIO_SPEED_FREQ_LOW;
  HAL_GPIO_Init(LED_D2_GPIO_Port, &GPIO_InitStruct);

  /*Configure GPIO pin : PB8 */
  GPIO_InitStruct.Pin = GPIO_PIN_8;
  GPIO_InitStruct.Mode = GPIO_MODE_IT_RISING_FALLING;
  GPIO_InitStruct.Pull = GPIO_PULLUP;
  HAL_GPIO_Init(GPIOB, &GPIO_InitStruct);

  /* EXTI interrupt init*/
  HAL_NVIC_SetPriority(EXTI9_5_IRQn, 0, 0);
  HAL_NVIC_EnableIRQ(EXTI9_5_IRQn);

  HAL_NVIC_SetPriority(EXTI15_10_IRQn, 0, 0);
  HAL_NVIC_EnableIRQ(EXTI15_10_IRQn);

}

/* USER CODE BEGIN 4 */
// FUNCTIONS
void MF_mode_LED(){
	HAL_GPIO_WritePin(GPIOA, GPIO_PIN_8, GPIO_PIN_SET);
	HAL_GPIO_WritePin(GPIOB, GPIO_PIN_10, GPIO_PIN_RESET);
	HAL_GPIO_WritePin(GPIOB, GPIO_PIN_4, GPIO_PIN_RESET);
	HAL_GPIO_WritePin(GPIOB, GPIO_PIN_5, GPIO_PIN_RESET);
}

void ME_mode_LED(){
	HAL_GPIO_WritePin(GPIOA, GPIO_PIN_8, GPIO_PIN_RESET);
	HAL_GPIO_WritePin(GPIOB, GPIO_PIN_10, GPIO_PIN_SET);
	HAL_GPIO_WritePin(GPIOB, GPIO_PIN_4, GPIO_PIN_RESET);
}

void MM_mode_LED(){
	HAL_GPIO_WritePin(GPIOA, GPIO_PIN_8, GPIO_PIN_RESET);
	HAL_GPIO_WritePin(GPIOB, GPIO_PIN_10, GPIO_PIN_RESET);
	HAL_GPIO_WritePin(GPIOB, GPIO_PIN_4, GPIO_PIN_SET);
	HAL_GPIO_WritePin(GPIOB, GPIO_PIN_5, GPIO_PIN_RESET);
}

// adc buffer filled by dma circular sampling
// data should not be processed in the interrupt, it makes rest of the
// progam inaccessible
void HAL_ADC_ConvCpltCallback(ADC_HandleTypeDef* hadc){
	adc_conv_complete = 1 ;

}

/* USER CODE END 4 */

void Error_Handler(void)
{
  __disable_irq();
  while (1)
  {
  }
}
